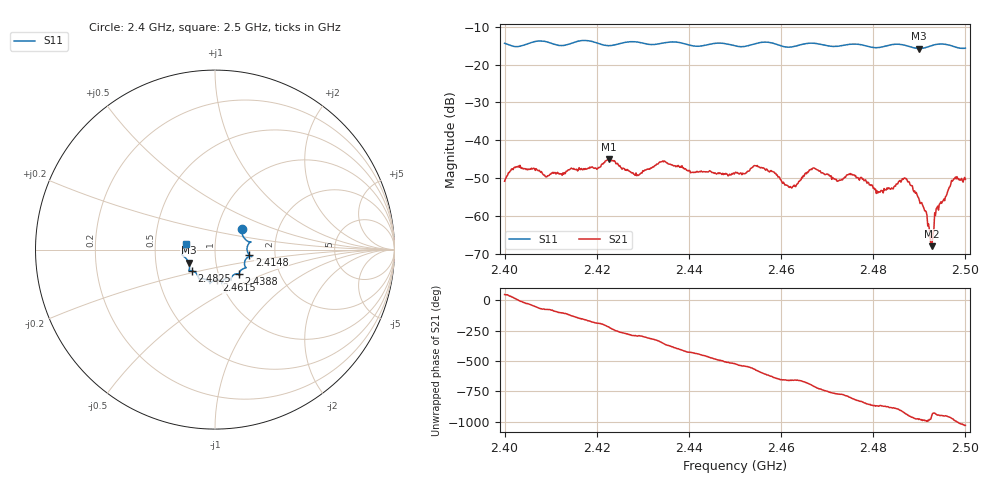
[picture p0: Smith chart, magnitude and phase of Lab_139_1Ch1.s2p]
# Hz S RI R 50
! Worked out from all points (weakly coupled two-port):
!   601 points, 2.4 GHz to 2.5 GHz, reference 50 ohm
!   highest |S21| = -45.06 dB at 2.4227 GHz (marker M1); lowest = -68.0 dB at 2.4927 GHz (marker M2)
!   lowest |S11| = -15.7 dB at 2.4898 GHz (marker M3), VSWR 1.39, Z = 36.9 - j5.5 ohm
!   |S11| at or under -10 dB: start of sweep to end of sweep
!   S12 and S22 are empty: the file has one direction only
!   S11 on the Smith chart (normalised r, x): 2.4 GHz: 1.31, +0.32; 2.4148 GHz: 1.47, -0.09; 2.4388 GHz: 1.25, -0.35; 2.4615 GHz: 0.96, -0.34; 2.4825 GHz: 0.75, -0.18; 2.5 GHz: 0.72, +0.05
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2.4e9  0.1516 0.1173  0.0019 0.00217  0 0  0 0
2.402833e9  0.1576 0.0714  0.00444 0.00047  0 0  0 0
2.409167e9  0.1957 0.0406  0.000881 -0.00318  0 0  0 0
2.414833e9  0.1919 -0.031  -0.00265 -0.00323  0 0  0 0
2.416667e9  0.2041 -0.0396  -0.00379 -0.00191  0 0  0 0
2.422667e9  0.1664 -0.0636  -0.0042 0.00368  0 0  0 0
2.428667e9  0.1716 -0.1016  0.00128 0.00315  0 0  0 0
2.433333e9  0.1359 -0.1297  0.00436 0.00219  0 0  0 0
2.438833e9  0.1319 -0.137  0.00248 -0.00355  0 0  0 0
2.45e9  0.073 -0.1617  -0.00353 -0.00118  0 0  0 0
2.454667e9  0.0392 -0.1869  -0.00372 0.00264  0 0  0 0
2.4615e9  0.011 -0.1698  0.00112 0.00223  0 0  0 0
2.466667e9  -0.028 -0.1903  0.00382 0.0015  0 0  0 0
2.4825e9  -0.1293 -0.1177  -0.00194 -0.00106  0 0  0 0
2.483333e9  -0.1375 -0.1167  -0.0022 -0.000859  0 0  0 0
2.486833e9  -0.1434 -0.1099  -0.00281 0.00151  0 0  0 0
2.489833e9  -0.1462 -0.0725  -0.000269 0.00172  0 0  0 0
2.491167e9  -0.1579 -0.0529  2.56e-05 0.00117  0 0  0 0
2.492667e9  -0.1744 -0.037  -0.000237 0.000322  0 0  0 0
2.493833e9  -0.1832 -0.0306  -0.000955 0.00088  0 0  0 0
2.497e9  -0.1767 -0.0163  -0.00096 0.00279  0 0  0 0
2.5e9  -0.1623 0.0307  0.00196 0.00233  0 0  0 0
